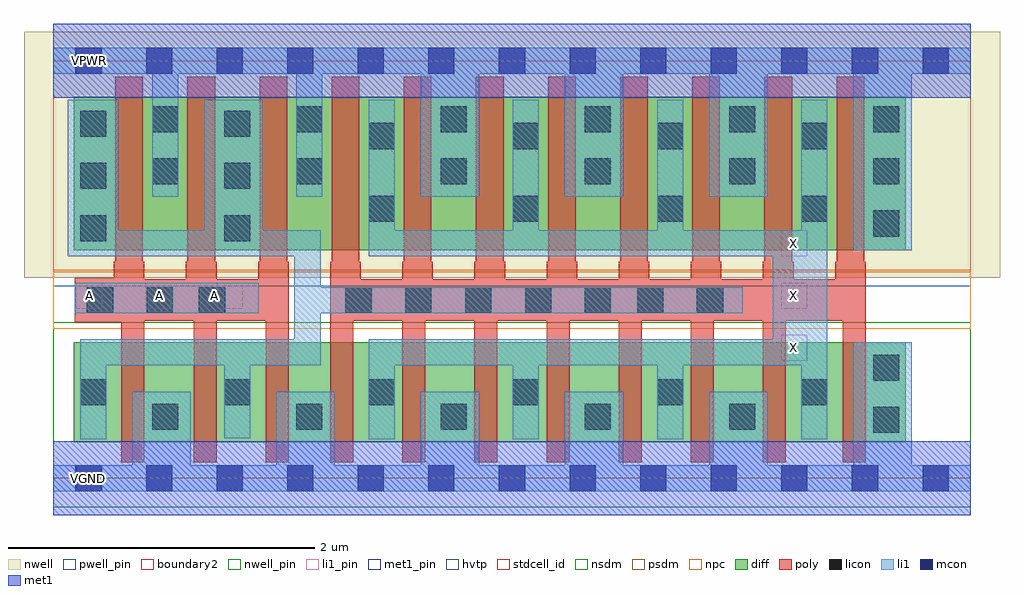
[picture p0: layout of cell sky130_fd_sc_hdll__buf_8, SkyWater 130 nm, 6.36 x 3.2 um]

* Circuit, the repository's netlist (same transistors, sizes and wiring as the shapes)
* Copyright 2020 The SkyWater PDK Authors
*
* Licensed under the Apache License, Version 2.0 (the "License");
* you may not use this file except in compliance with the License.
* You may obtain a copy of the License at
*
*     https://www.apache.org/licenses/LICENSE-2.0
*
* Unless required by applicable law or agreed to in writing, software
* distributed under the License is distributed on an "AS IS" BASIS,
* WITHOUT WARRANTIES OR CONDITIONS OF ANY KIND, either express or implied.
* See the License for the specific language governing permissions and
* limitations under the License.
*
* SPDX-License-Identifier: Apache-2.0

.SUBCKT sky130_fd_sc_hdll__buf_8 A VGND VNB VPB VPWR X
*.PININFO A:I VGND:I VNB:I VPB:I VPWR:I X:O
MMIN1 Ab A VGND VNB sky130_fd_pr__nfet_01v8 m=3 w=0.65U l=0.15U mult=1 sa=0.265
+ sb=0.265 sd=0.28 area=0.063 perim=1.14
MMIN2 X Ab VGND VNB sky130_fd_pr__nfet_01v8 m=8 w=0.65U l=0.15U mult=1 sa=0.265
+ sb=0.265 sd=0.28 area=0.063 perim=1.14
MMIP1 Ab A VPWR VPB sky130_fd_pr__pfet_01v8_hvt m=3 w=1.0U l=0.18U mult=1 sa=0.265
+ sb=0.265 sd=0.28 area=0.063 perim=1.14
MMIP2 X Ab VPWR VPB sky130_fd_pr__pfet_01v8_hvt m=8 w=1.0U l=0.18U mult=1 sa=0.265
+ sb=0.265 sd=0.28 area=0.063 perim=1.14
.ENDS sky130_fd_sc_hdll__buf_8

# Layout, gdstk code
import gdstk
lib = gdstk.Library(unit=1e-6, precision=1e-09)
def R(c, l, rs):  # rectangles x0, y0, x1, y1
    for r in rs: c.add(gdstk.rectangle(r[:2], r[2:], *l))
def A(c, l, x, y, w, h, nx, ny, dx, dy):  # array of equal rectangles
    R(c, l, [(x+i*dx, y+j*dy, x+i*dx+w, y+j*dy+h) for i in range(nx) for j in range(ny)])
def P(c, l, *ps):  # polygons
    for p in ps: c.add(gdstk.Polygon(p, *l))
nwell_pin = (64, 16)
nwell = (64, 20)
diff = (65, 20)
poly = (66, 20)
licon = (66, 44)
li1_pin = (67, 16)
li1 = (67, 20)
mcon = (67, 44)
met1_pin = (68, 16)
met1 = (68, 20)
hvtp = (78, 44)
stdcell_id = (81, 4)
nsdm = (93, 44)
psdm = (94, 20)
npc = (95, 20)
pwell_pin = (122, 16)
boundary2 = (236, 0)

sky130_fd_sc_hdll__buf_8 = lib.new_cell('sky130_fd_sc_hdll__buf_8')
R(sky130_fd_sc_hdll__buf_8, nwell_pin, [(0.15,2.635,0.32,2.805)])
R(sky130_fd_sc_hdll__buf_8, nwell, [(-0.19,1.305,6.17,2.91)])
R(sky130_fd_sc_hdll__buf_8, diff, [(0.135,0.235,5.555,0.885), (0.135,1.485,5.555,2.485)])
P(sky130_fd_sc_hdll__buf_8, poly, [(1.535,1.41),(1.525,1.41),(1.525,2.615),(1.345,2.615),(1.345,1.41),(1.335,1.41),(1.335,1.295),(1.065,1.295),(1.065,1.41),(1.055,1.41),(1.055,2.615),(0.875,2.615),(0.875,1.41),(0.865,1.41),(0.865,1.295),(0.595,1.295),(0.595,1.41),(0.585,1.41),(0.585,2.615),(0.405,2.615),(0.405,1.41),(0.395,1.41),(0.395,1.305),(0.14,1.305),(0.14,1.015),(0.445,1.015),(0.445,0.105),(0.595,0.105),(0.595,1.025),(0.915,1.025),(0.915,0.105),(1.065,0.105),(1.065,1.025),(1.385,1.025),(1.385,0.105),(1.535,0.105)],
  [(5.295,1.41),(5.285,1.41),(5.285,2.615),(5.105,2.615),(5.105,1.41),(5.095,1.41),(5.095,1.295),(4.825,1.295),(4.825,1.41),(4.815,1.41),(4.815,2.615),(4.635,2.615),(4.635,1.41),(4.625,1.41),(4.625,1.295),(4.355,1.295),(4.355,1.41),(4.345,1.41),(4.345,2.615),(4.165,2.615),(4.165,1.41),(4.155,1.41),(4.155,1.295),(3.885,1.295),(3.885,1.41),(3.875,1.41),(3.875,2.615),(3.695,2.615),(3.695,1.41),(3.685,1.41),(3.685,1.295),(3.415,1.295),(3.415,1.41),(3.405,1.41),(3.405,2.615),(3.225,2.615),(3.225,1.41),(3.215,1.41),(3.215,1.295),(2.945,1.295),(2.945,1.41),(2.935,1.41),(2.935,2.615),(2.755,2.615),(2.755,1.41),(2.745,1.41),(2.745,1.295),(2.475,1.295),(2.475,1.41),(2.465,1.41),(2.465,2.615),(2.285,2.615),(2.285,1.41),(2.275,1.41),(2.275,1.295),(2.005,1.295),(2.005,1.41),(1.995,1.41),(1.995,2.615),(1.815,2.615),(1.815,1.41),(1.805,1.41),(1.805,0.105),(1.955,0.105),(1.955,1.025),(2.275,1.025),(2.275,0.105),(2.425,0.105),(2.425,1.025),(2.745,1.025),(2.745,0.105),(2.895,0.105),(2.895,1.025),(3.215,1.025),(3.215,0.105),(3.365,0.105),(3.365,1.025),(3.685,1.025),(3.685,0.105),(3.835,0.105),(3.835,1.025),(4.155,1.025),(4.155,0.105),(4.305,0.105),(4.305,1.025),(4.625,1.025),(4.625,0.105),(4.775,0.105),(4.775,1.025),(5.145,1.025),(5.145,0.105),(5.295,0.105)])
A(sky130_fd_sc_hdll__buf_8, licon, 0.645, 0.315, 0.17, 0.17, 5, 1, 0.94, 0)
A(sky130_fd_sc_hdll__buf_8, licon, 0.175, 0.475, 0.17, 0.17, 6, 1, 0.94, 0)
A(sky130_fd_sc_hdll__buf_8, licon, 1.905, 1.075, 0.17, 0.17, 5, 1, 0.39, 0)
A(sky130_fd_sc_hdll__buf_8, licon, 0.175, 1.545, 0.17, 0.17, 1, 3, 0, 0.34)
A(sky130_fd_sc_hdll__buf_8, licon, 1.115, 1.545, 0.17, 0.17, 1, 3, 0, 0.34)
A(sky130_fd_sc_hdll__buf_8, licon, 2.055, 1.67, 0.17, 0.17, 4, 2, 0.94, 0.475)
A(sky130_fd_sc_hdll__buf_8, licon, 0.645, 1.915, 0.17, 0.17, 6, 2, 0.94, 0.34)
R(sky130_fd_sc_hdll__buf_8, licon, [(5.345,0.295,5.515,0.465), (5.345,0.635,5.515,0.805), (0.22,1.075,0.39,1.245), (0.61,1.075,0.78,1.245), (0.95,1.075,1.12,1.245), (3.805,1.075,3.975,1.245), (4.195,1.075,4.365,1.245), (5.345,1.575,5.515,1.745)])
A(sky130_fd_sc_hdll__buf_8, li1_pin, 4.745, 0.765, 0.17, 0.17, 1, 3, 0, 0.34)
R(sky130_fd_sc_hdll__buf_8, li1_pin, [(0.15,-0.085,0.32,0.085), (0.15,1.105,0.32,1.275), (0.6,1.105,0.77,1.275), (1.065,1.105,1.235,1.275), (0.15,2.635,0.32,2.805)])
R(sky130_fd_sc_hdll__buf_8, li1, [(0.14,1.075,1.34,1.275)])
P(sky130_fd_sc_hdll__buf_8, li1, [(4.495,1.245),(1.745,1.245),(1.745,1.615),(1.365,1.615),(1.365,2.465),(0.985,2.465),(0.985,1.615),(0.425,1.615),(0.425,2.465),(0.095,2.465),(0.095,1.445),(1.57,1.445),(1.57,0.905),(0.175,0.905),(0.175,0.255),(0.345,0.255),(0.345,0.735),(1.115,0.735),(1.115,0.26),(1.285,0.26),(1.285,0.735),(1.745,0.735),(1.745,1.075),(4.495,1.075)],
  [(5.98,0.085),(5.595,0.085),(5.595,0.885),(5.215,0.885),(5.215,0.085),(4.655,0.085),(4.655,0.565),(4.275,0.565),(4.275,0.085),(3.715,0.085),(3.715,0.565),(3.335,0.565),(3.335,0.085),(2.775,0.085),(2.775,0.565),(2.395,0.565),(2.395,0.085),(1.835,0.085),(1.835,0.565),(1.455,0.565),(1.455,0.085),(0.895,0.085),(0.895,0.565),(0.515,0.565),(0.515,0.085),(0,0.085),(0,-0.085),(5.98,-0.085)],
  [(5.98,2.805),(0,2.805),(0,2.635),(0.645,2.635),(0.645,1.835),(0.815,1.835),(0.815,2.635),(1.585,2.635),(1.585,1.835),(1.755,1.835),(1.755,2.635),(2.395,2.635),(2.395,1.835),(2.775,1.835),(2.775,2.635),(3.335,2.635),(3.335,1.835),(3.715,1.835),(3.715,2.635),(4.275,2.635),(4.275,1.835),(4.655,1.835),(4.655,2.635),(5.215,2.635),(5.215,1.485),(5.595,1.485),(5.595,2.635),(5.98,2.635)],
  [(5.045,2.465),(4.875,2.465),(4.875,1.615),(4.105,1.615),(4.105,2.465),(3.935,2.465),(3.935,1.615),(3.165,1.615),(3.165,2.465),(2.995,2.465),(2.995,1.615),(2.225,1.615),(2.225,2.465),(2.055,2.465),(2.055,1.445),(4.69,1.445),(4.69,0.905),(2.055,0.905),(2.055,0.255),(2.225,0.255),(2.225,0.735),(2.995,0.735),(2.995,0.255),(3.165,0.255),(3.165,0.735),(3.935,0.735),(3.935,0.255),(4.105,0.255),(4.105,0.735),(4.875,0.735),(4.875,0.255),(5.045,0.255)])
A(sky130_fd_sc_hdll__buf_8, mcon, 0.145, -0.085, 0.17, 0.17, 13, 2, 0.46, 2.72)
R(sky130_fd_sc_hdll__buf_8, met1_pin, [(0.15,-0.085,0.32,0.085), (0.15,2.635,0.32,2.805)])
R(sky130_fd_sc_hdll__buf_8, met1, [(0,-0.24,5.98,0.24), (0,2.48,5.98,2.96)])
R(sky130_fd_sc_hdll__buf_8, hvtp, [(0,1.25,5.98,2.72)])
R(sky130_fd_sc_hdll__buf_8, stdcell_id, [(0,0,5.98,2.72)])
R(sky130_fd_sc_hdll__buf_8, nsdm, [(0,-0.19,5.98,1.015)])
R(sky130_fd_sc_hdll__buf_8, psdm, [(0,1.355,5.98,2.91)])
R(sky130_fd_sc_hdll__buf_8, npc, [(0,0.975,5.98,1.345)])
R(sky130_fd_sc_hdll__buf_8, pwell_pin, [(0.15,-0.085,0.32,0.085)])
R(sky130_fd_sc_hdll__buf_8, boundary2, [(0,0,5.98,2.72)])
sky130_fd_sc_hdll__buf_8.add(gdstk.Label('A', (1.05,1.19), layer=67, texttype=5))
sky130_fd_sc_hdll__buf_8.add(gdstk.Label('X', (4.825,0.85), layer=67, texttype=5))
sky130_fd_sc_hdll__buf_8.add(gdstk.Label('X', (4.825,1.19), layer=67, texttype=5))
sky130_fd_sc_hdll__buf_8.add(gdstk.Label('A', (0.695,1.19), layer=67, texttype=5))
sky130_fd_sc_hdll__buf_8.add(gdstk.Label('VGND', (0.23,0), layer=67, texttype=5))
sky130_fd_sc_hdll__buf_8.add(gdstk.Label('VPWR', (0.235,2.72), layer=67, texttype=5))
sky130_fd_sc_hdll__buf_8.add(gdstk.Label('X', (4.825,1.53), layer=67, texttype=5))
sky130_fd_sc_hdll__buf_8.add(gdstk.Label('A', (0.235,1.19), layer=67, texttype=5))
sky130_fd_sc_hdll__buf_8.add(gdstk.Label('VPB', (0.235,2.72), layer=64, texttype=5))
sky130_fd_sc_hdll__buf_8.add(gdstk.Label('VNB', (0.235,0), layer=64, texttype=59))
sky130_fd_sc_hdll__buf_8.add(gdstk.Label('VGND', (0.23,0), layer=68, texttype=5))
sky130_fd_sc_hdll__buf_8.add(gdstk.Label('VPWR', (0.235,2.72), layer=68, texttype=5))
sky130_fd_sc_hdll__buf_8.add(gdstk.Label('buf_8', (0,0), layer=83, texttype=44))

lib.write_gds('sky130_fd_sc_hdll__buf_8.gds')
